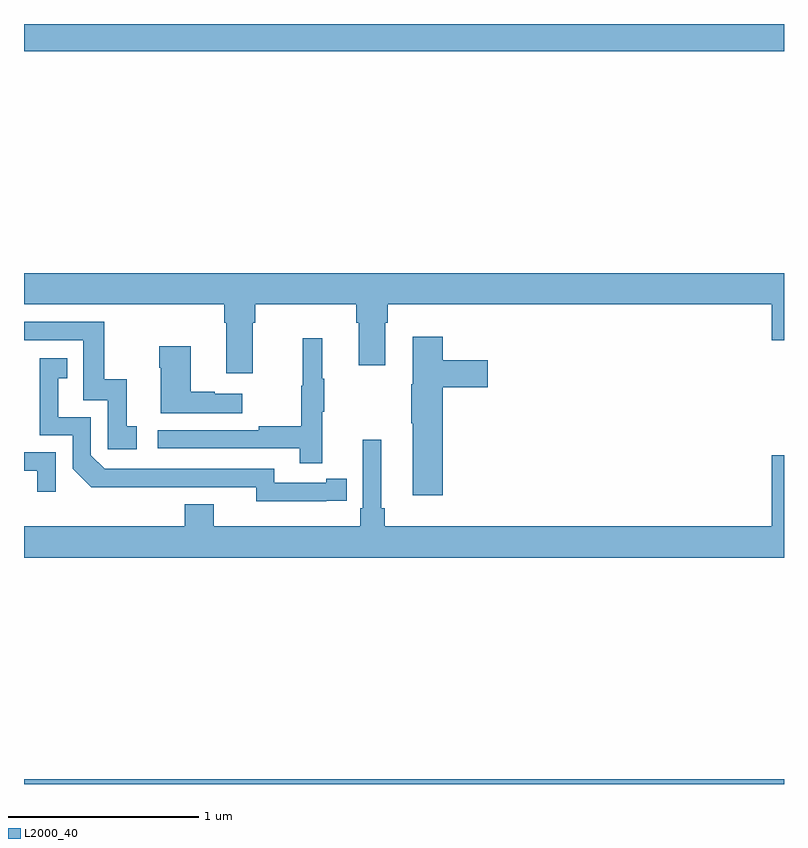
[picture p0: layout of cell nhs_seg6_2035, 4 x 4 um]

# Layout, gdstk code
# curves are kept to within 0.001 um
import gdstk
lib = gdstk.Library(unit=1e-6, precision=1e-09)
def R(c, l, rs):  # rectangles x0, y0, x1, y1
    for r in rs: c.add(gdstk.rectangle(r[:2], r[2:], *l))
def P(c, l, *ps):  # polygons
    for p in ps: c.add(gdstk.Polygon(p, *l))
L2000_40 = (2000, 40)

nhs_seg6_2035 = lib.new_cell('nhs_seg6_2035')
R(nhs_seg6_2035, L2000_40, [(233,923.5,237,923.524), (233,927.356,237,927.5)])
P(nhs_seg6_2035, L2000_40, [(234.205,925.928),(234.218,925.928),(234.218,926.024),(234.749,926.024),(234.749,925.928),(234.761,925.928),(234.761,925.704),(234.901,925.704),(234.901,925.928),(234.914,925.928),(234.914,926.024),(236.936,926.024),(236.936,925.836),(237,925.836),(237,926.188),(233,926.188),(233,926.024),(234.053,926.024),(234.053,925.928),(234.065,925.928),(234.065,925.662),(234.205,925.662)],
  [(233.593,925.383),(233.54,925.383),(233.54,925.63),(233.422,925.63),(233.422,925.932),(233,925.932),(233,925.836),(233.313,925.836),(233.313,925.521),(233.442,925.521),(233.442,925.263),(233.593,925.263)],
  [(235.205,925.589),(235.441,925.589),(235.441,925.731),(235.205,925.731),(235.205,925.855),(235.046,925.855),(235.046,925.605),(235.039,925.605),(235.039,925.399),(235.046,925.399),(235.046,925.02),(235.205,925.02)],
  [(234.569,925.459),(234.58,925.459),(234.58,925.633),(234.569,925.633),(234.569,925.846),(234.466,925.846),(234.466,925.596),(234.459,925.596),(234.459,925.382),(234.235,925.382),(234.235,925.362),(233.703,925.362),(233.703,925.266),(234.451,925.266),(234.451,925.188),(234.569,925.188)],
  [(234.148,925.555),(234.005,925.555),(234.005,925.565),(233.878,925.565),(233.878,925.804),(233.713,925.804),(233.713,925.691),(233.72,925.691),(233.72,925.451),(234.148,925.451)],
  [(234.59,924.99),(234.698,924.99),(234.698,925.106),(234.59,925.106),(234.59,925.086),(234.318,925.086),(234.318,925.158),(233.424,925.158),(233.352,925.23),(233.352,925.431),(233.179,925.431),(233.179,925.635),(233.228,925.635),(233.228,925.741),(233.082,925.741),(233.082,925.335),(233.256,925.335),(233.256,925.158),(233.354,925.061),(234.222,925.062),(234.222,924.989)],
  [(237,925.231),(236.936,925.231),(236.936,924.856),(234.899,924.856),(234.899,924.952),(234.88,924.952),(234.88,925.312),(234.783,925.312),(234.783,924.952),(234.77,924.952),(234.77,924.856),(233.998,924.856),(233.998,924.973),(233.846,924.973),(233.846,924.856),(233,924.856),(233,924.692),(237,924.692)],
  [(233.166,925.245),(233,925.245),(233,925.149),(233.069,925.149),(233.069,925.038),(233.166,925.038)])

lib.write_gds('nhs_seg6_2035.gds')
